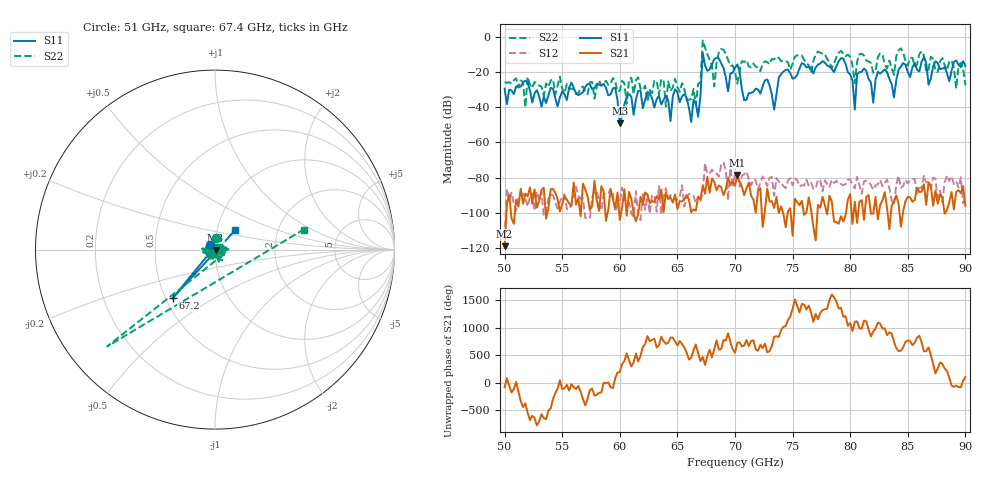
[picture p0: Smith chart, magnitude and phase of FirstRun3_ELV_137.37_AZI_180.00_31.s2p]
! 11/24/2026 3:40:42 PM
! C:\ANRITSUVNA\TEMP\TEMP.S2P
! CHANNEL.1
! TR.MEASUREMENT
! RAW.DATA
# HZ S RI R 50.0
! FREQ.HZ  S11RE  S11IM  S21RE  S21IM  S12RE  S12IM  S22RE  S22IM
!; PortSelection: Port_12
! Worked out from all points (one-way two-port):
!   201 points, 50 GHz to 90 GHz, reference 50 ohm
!   highest |S21| = -78.50 dB at 70.2 GHz (marker M1); lowest = -119.1 dB at 50 GHz (marker M2)
!   lowest |S11| = -49.1 dB at 60 GHz (marker M3), VSWR 1.01, Z = 50.3 - j0.154 ohm
!   |S11| at or under -10 dB: start of sweep to 67.19 GHz; 67.23 GHz to end of sweep
!   |S22| runs from -40.0 to -1.9 dB; largest |S21 - S12| = 0.00026
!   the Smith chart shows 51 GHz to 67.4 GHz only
!   S11 on the Smith chart (normalised r, x): 51 GHz: 0.94, +0.05; 67.2 GHz: 0.54, -0.34; 67.4 GHz: 1.22, +0.27
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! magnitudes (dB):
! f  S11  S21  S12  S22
! 50 GHz  -29.3  -119.1  -114.2  -25.6
! 51 GHz  -28.1  -92.7  -98.8  -23.4
! 51.8 GHz  -24.8  -89.2  -92.3  -40.0
! 56.8 GHz  -31.4  -83.5  -91.9  -28.1
! 59.6 GHz  -28.8  -97.3  -99.5  -25.0
! 60 GHz  -49.1  -104.2  -94.1  -30.5
! 63.4 GHz  -33.4  -92.6  -84.9  -32.6
! 66.8 GHz  -45.4  -90.9  -90.8  -26.5
! 67.2 GHz  -8.9  -84.5  -88.5  -1.9
! 67.4 GHz  -16.1  -89.3  -71.9  -5.9
! 68.2 GHz  -12.5  -82.5  -77.5  -28.0
! 68.8 GHz  -14.8  -85.4  -73.0  -6.7
! 70 GHz  -17.4  -84.8  -78.2  -19.9
! 70.2 GHz  -15.5  -78.5  -78.5  -26.4
! 73.4 GHz  -41.3  -97.4  -90.4  -12.6
! 74.2 GHz  -19.7  -100.8  -84.9  -13.5
! 76.8 GHz  -20.6  -107.8  -86.5  -13.6
! 79.4 GHz  -12.2  -105.1  -84.4  -9.4
! 80.4 GHz  -41.2  -93.7  -86.2  -26.2
! 80.6 GHz  -21.0  -105.9  -79.6  -14.0
! 83.4 GHz  -23.7  -109.5  -86.1  -13.3
! 90 GHz  -16.5  -96.2  -90.7  -27.3
